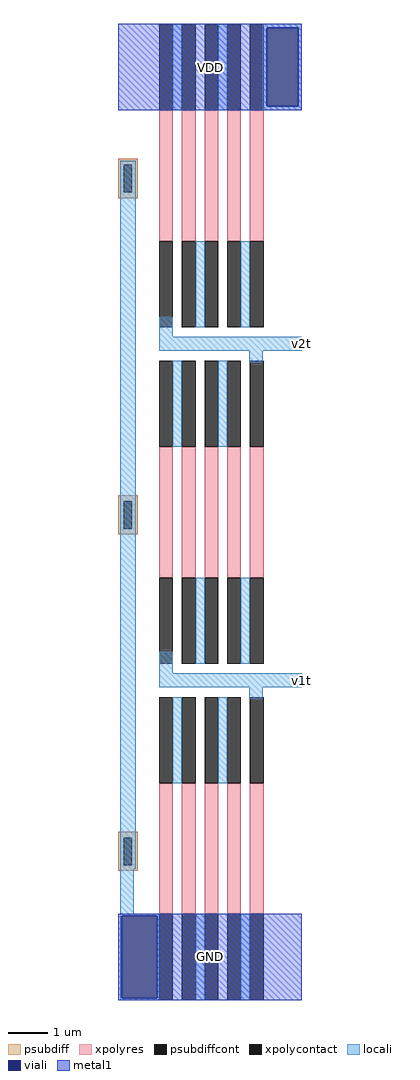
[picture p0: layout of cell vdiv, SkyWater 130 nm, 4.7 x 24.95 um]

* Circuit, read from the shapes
.subckt vdiv v1t v2t
XR1 n1 GND GND sky130_fd_pr__res_xhigh_po w=0.35 l=3.34
XR2 n2 v1t GND sky130_fd_pr__res_xhigh_po w=0.35 l=3.34
XR3 n3 v2t GND sky130_fd_pr__res_xhigh_po w=0.35 l=3.34
XR4 n1 n4 GND sky130_fd_pr__res_xhigh_po w=0.35 l=3.34
XR5 n2 n5 GND sky130_fd_pr__res_xhigh_po w=0.35 l=3.34
XR6 n3 n6 GND sky130_fd_pr__res_xhigh_po w=0.35 l=3.34
XR7 n7 n4 GND sky130_fd_pr__res_xhigh_po w=0.35 l=3.34
XR8 n8 n5 GND sky130_fd_pr__res_xhigh_po w=0.35 l=3.34
XR9 n9 n6 GND sky130_fd_pr__res_xhigh_po w=0.35 l=3.34
XR10 n7 n10 GND sky130_fd_pr__res_xhigh_po w=0.35 l=3.34
XR11 n8 n11 GND sky130_fd_pr__res_xhigh_po w=0.35 l=3.34
XR12 n9 n12 GND sky130_fd_pr__res_xhigh_po w=0.35 l=3.34
XR13 v1t n10 GND sky130_fd_pr__res_xhigh_po w=0.35 l=3.34
XR14 v2t n11 GND sky130_fd_pr__res_xhigh_po w=0.35 l=3.34
XR15 VDD n12 GND sky130_fd_pr__res_xhigh_po w=0.35 l=3.34
.ends

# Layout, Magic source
magic
tech sky130A
<< locali >>
rect 370 2485 470 2495
rect 370 2285 380 2485
rect 460 2285 470 2485
rect 370 2275 470 2285
rect 5 335 45 2145
rect 105 1695 140 1745
rect 105 1660 470 1695
rect 335 1630 370 1660
rect 105 835 140 890
rect 105 800 470 835
rect 335 770 370 800
rect 5 220 40 335
rect 5 215 105 220
rect 5 5 10 215
rect 100 5 105 215
rect 5 0 105 5
<< viali >>
rect 380 2285 460 2485
rect 10 5 100 215
<< metal1 >>
rect 0 2485 470 2495
rect 0 2285 380 2485
rect 460 2285 470 2485
rect 0 2275 470 2285
rect 0 215 470 220
rect 0 5 10 215
rect 100 5 470 215
rect 0 0 470 5
use res100k  res100k_0
array 0 0 0 0 2 860
transform 1 0 105 0 1 220
box -105 -220 267 554
<< labels >>
rlabel metal1 0 0 470 220 5 GND
rlabel metal1 0 2275 470 2495 1 VDD
rlabel locali 470 1660 470 1695 3 v2t
port 2 e
rlabel locali 470 800 470 835 3 v1t
port 1 e
<< end >>

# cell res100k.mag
magic
tech sky130A
<< psubdiff >>
rect -105 195 -55 210
rect -105 125 -90 195
rect -70 125 -55 195
rect -105 110 -55 125
<< psubdiffcont >>
rect -90 125 -70 195
<< xpolycontact >>
rect 0 334 35 554
rect 0 -220 35 0
rect 58 334 93 554
rect 58 -220 93 0
rect 116 334 151 554
rect 116 -220 151 0
rect 174 334 209 554
rect 174 -220 209 0
rect 232 334 267 554
rect 232 -220 267 0
<< xpolyres >>
rect 0 0 35 334
rect 58 0 93 334
rect 116 0 151 334
rect 174 0 209 334
rect 232 0 267 334
<< locali >>
rect 35 334 58 554
rect 151 334 174 554
rect -100 195 -60 205
rect -100 125 -90 195
rect -70 125 -60 195
rect -100 115 -60 125
rect 93 -220 116 0
rect 209 -220 232 0
<< labels >>
rlabel locali -100 115 -60 205 5 GND
rlabel locali 0 -220 35 0 5 bot
port 1 s
rlabel locali 232 334 267 554 1 top
port 2 n
<< end >>
